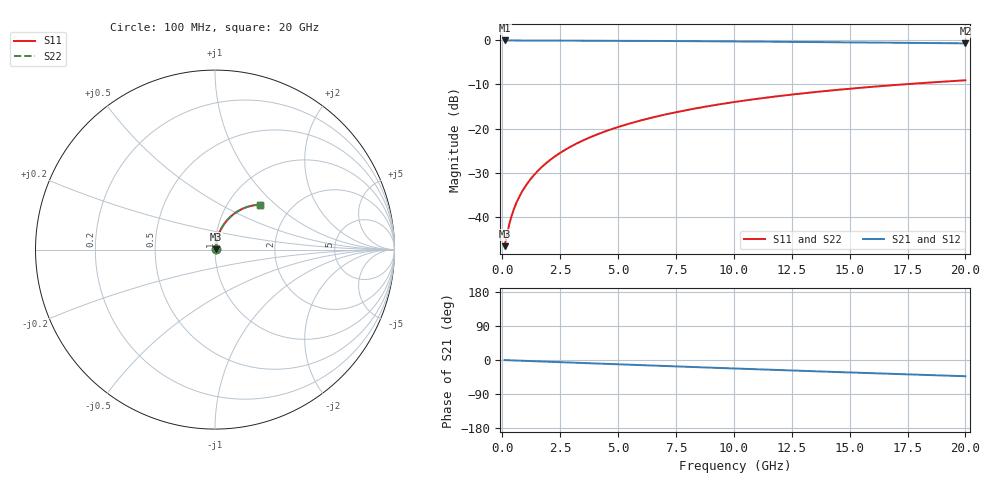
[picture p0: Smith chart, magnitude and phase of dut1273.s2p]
! Touchstone file exported from HFSS 2026.1.0
!  File:  C:/ffzhzh/LocalFiles/Ansys_Project_Files/temp_train_TMRDL_1273_1783164198_51560.aedt
!  Generated:  07:24:38 PM Jul  4, 2026
!  Design:  TMRDL
!  Project:  temp_train_TMRDL_1273_1783164198_51560
! Variables:
!  h_bsmrdl = 2um
!  h_ox = 20um
!  h_rdl = 5um
!  h_sub = 80um
!  h_tmrdl = 2.75um
!  h_tsv = 80um
!  h_via = 3um
!  l_bsmrdl = 300um
!  l_sub = 1048.36um
!  l_tmrdl = 648.36um
!  m_sub = 200um
!  pitch = 42.55um
!  r_tsv = 6um
!  s_tmrdl = 10um
!  w_bsmrdl = 18um
!  w_sub = 500um
!  w_tmrdl = 22.29um
!  x_tsv_center1 = 659.505um
!  x_tsv_center2 = 977.505um
!  x_tsv_center3 = 1648.155um
!  x_tsv_center4 = 1966.155um
!  x_tsv_center5 = 2636.805um
!  x_tsv_center6 = 2954.805um
# GHz S MA R 50.000000
! Terminal data exported
! Port[1] = TM_RDL1_1_T1
! Port[2] = TM_RDL1_1_T2
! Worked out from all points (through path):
!   200 points, 100 MHz to 20 GHz, reference 50 ohm
!   highest |S21| = -0.03 dB at 100 MHz (marker M1); lowest = -0.7 dB at 20 GHz (marker M2)
!   group delay of S21, straight-line fit = 5.96 ps
!   lowest |S11| = -46.6 dB at 100 MHz (marker M3), VSWR 1.01, Z = 50.4 + j0.241 ohm
!   |S11| at or under -10 dB: start of sweep to 17.28 GHz
!   |S22| runs from -46.6 to -9.1 dB; largest |S21 - S12| = 4.2e-15
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0.1  0.004656 30.8  0.996 -0.2  0.996 -0.2  0.004656 30.8
! Gamma 0 0 0 0
! Port Impedance 50 0 50 0
0.2  0.006299 48.4  0.9958 -0.5  0.9958 -0.5  0.006299 48.4
0.3  0.008233 57.5  0.9956 -0.7  0.9956 -0.7  0.008233 57.5
0.4  0.01023 62.7  0.9954 -1.0  0.9954 -1.0  0.01023 62.7
0.5  0.01223 66.2  0.9952 -1.2  0.9952 -1.2  0.01223 66.2
0.6  0.01423 68.7  0.9951 -1.4  0.9951 -1.4  0.01423 68.7
0.8  0.01824 72.1  0.9948 -1.9  0.9948 -1.9  0.01824 72.1
1.1  0.0243 75.0  0.9945 -2.5  0.9945 -2.5  0.0243 75.0
1.3  0.02837 76.2  0.9943 -3.0  0.9943 -3.0  0.02837 76.2
1.6  0.03452 77.3  0.994 -3.7  0.994 -3.7  0.03452 77.3
2.1  0.04482 78.0  0.9935 -4.8  0.9935 -4.8  0.04482 78.0
2.7  0.0572 78.1  0.9926 -6.2  0.9926 -6.2  0.0572 78.1
3.5  0.07365 77.3  0.9913 -8.0  0.9913 -8.0  0.07366 77.3
4.2  0.08795 76.3  0.9899 -9.6  0.9899 -9.6  0.08795 76.3
5  0.1041 75.0  0.988 -11.4  0.988 -11.4  0.1041 75.0
5.9  0.1221 73.3  0.9855 -13.4  0.9855 -13.4  0.1221 73.3
6.8  0.1397 71.6  0.9828 -15.4  0.9828 -15.4  0.1397 71.6
8.3  0.1683 68.5  0.9776 -18.7  0.9776 -18.7  0.1683 68.5
10.1  0.2013 64.8  0.9705 -22.6  0.9705 -22.6  0.2013 64.9
13.4  0.2575 58.1  0.9558 -29.6  0.9558 -29.6  0.2576 58.1
16.7  0.3079 51.6  0.9399 -36.3  0.9399 -36.3  0.308 51.6
20  0.3523 45.2  0.9237 -42.8  0.9237 -42.8  0.3523 45.2
